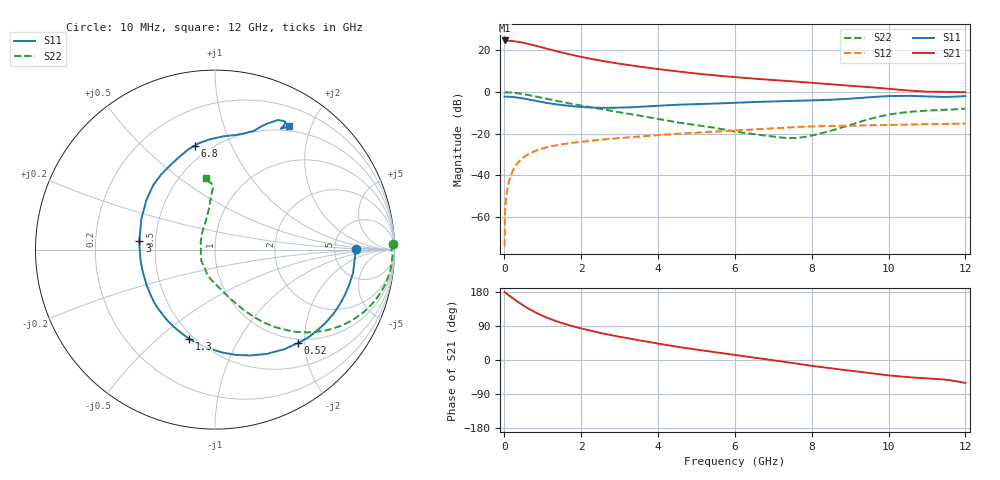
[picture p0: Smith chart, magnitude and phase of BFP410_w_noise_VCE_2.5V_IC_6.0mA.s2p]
! Infineon Technologies  Discrete & RF Semiconductors
! BFP410
! VCE =  2.5 V,  IC =  6.0 mA
! Common Emitter S-Parameters:  Nov 2015
# GHz  S  MA  R  50
!  f  S11  S21  S12  S22
! GHz  MAG  ANG  MAG  ANG  MAG  ANG  MAG  ANG
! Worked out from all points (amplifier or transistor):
!   243 points, 10 MHz to 12 GHz, reference 50 ohm
!   highest |S21| = 24.8 dB at 10 MHz (marker M1)
!   |S21| within 3 dB of that: start of sweep to 915.5 MHz
!   unconditionally stable (mu >= 1): start of sweep to 10.3 MHz; 2.896 GHz to end of sweep
!   at 240 MHz: K = 0.11, MSG = 30.8 dB, |S12| = -37.2 dB
!   at 1.84 GHz: K = 0.69, MSG = 20.9 dB, |S12| = -24.2 dB
!   at 12 GHz: K = 1.06, MAG = 6.0 dB, |S12| = -15.1 dB
!   lowest NFmin = 1.06 dB at 900 MHz
!   S11 on the Smith chart (normalised r, x): 10 MHz: 8.23, +0.12; 520 MHz: 0.92, -1.86; 1.3 GHz: 0.47, -0.64; 3 GHz: 0.41, +0.05; 6.8 GHz: 0.41, +0.74; 12 GHz: 0.44, +1.68
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0.01  0.7833 0.2  17.38 179.3  0.0002 92.4  0.99 1.7
0.015  0.7829 -0.4  17.35 178.8  0.0007 87.0  0.9864 0.8
0.03  0.7814 -2.3  17.28 177.3  0.0018 87.2  0.9851 -0.7
0.105  0.779 -10.1  17.19 171.8  0.0061 84.6  0.9866 -5.0
0.3  0.7501 -28.6  16.49 157.3  0.0171 76.3  0.9536 -14.5
0.4  0.7273 -37.8  15.93 150.4  0.0222 72.0  0.9266 -19.0
0.52  0.6962 -48.4  15.13 142.5  0.0278 67.6  0.8883 -24.0
0.7  0.6485 -63.6  13.86 131.6  0.0351 61.6  0.8259 -30.7
0.9  0.5976 -79.0  12.42 121.1  0.0417 56.2  0.7558 -36.8
1.1  0.5527 -93.1  11.09 112.2  0.0472 52.0  0.6893 -42.0
1.3  0.5176 -106.1  9.924 104.2  0.0518 48.4  0.6304 -46.3
1.64  0.4717 -125.5  8.307 93.1  0.0582 44.0  0.547 -52.0
2.02  0.4393 -144.5  6.952 82.8  0.0646 40.4  0.4741 -57.0
2.4  0.4217 -162.3  5.943 73.7  0.0704 37.4  0.4102 -61.6
3  0.4243 173.6  4.79 61.3  0.0788 33.5  0.3274 -68.3
4.1  0.4755 141.9  3.485 41.7  0.0942 27.1  0.2192 -82.5
5  0.5156 125.4  2.79 27.4  0.1063 21.5  0.161 -100.5
6.1  0.5583 109.7  2.251 12.0  0.1207 14.7  0.1095 -125.8
6.8  0.5904 101.0  2.009 2.2  0.1316 10.1  0.0902 -150.0
8.2  0.6409 82.4  1.614 -18.0  0.1517 -2.6  0.0997 140.0
10.2  0.8083 62.8  1.157 -42.4  0.1634 -17.0  0.3066 93.7
12  0.8007 59.2  0.998 -60.5  0.1761 -31.6  0.4006 97.4
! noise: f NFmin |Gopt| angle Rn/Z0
0.45  1.09  0.2  1  0.22
0.9  1.06  0.19  15  0.18
1.8  1.21  0.13  52  0.16
2.4  1.21  0.11  50  0.19
5.5  2.12  0.32  -125  0.21
10  3.36  0.67  -51  1.79
